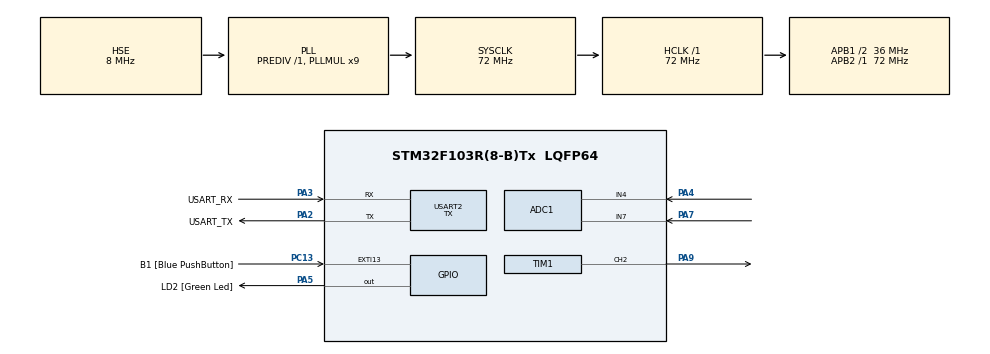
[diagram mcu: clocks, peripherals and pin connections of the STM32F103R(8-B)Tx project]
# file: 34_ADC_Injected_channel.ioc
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ADC1.Channel-5\#ChannelRegularConversion=ADC_CHANNEL_7
ADC1.Channel-6\#ChannelInjectedConversion=ADC_CHANNEL_4
ADC1.ContinuousConvMode=ENABLE
ADC1.EnableInjectedConversion=ENABLE
ADC1.ExternalTrigInjecConv=ADC_EXTERNALTRIGINJECCONV_T1_TRGO
ADC1.InjNumberOfConversion=1
ADC1.InjectedConvMode=Discontinuous
ADC1.InjectedOffset-6\#ChannelInjectedConversion=0
ADC1.InjectedRank-6\#ChannelInjectedConversion=1
ADC1.NbrOfConversionFlag=1
ADC1.Rank-5\#ChannelRegularConversion=1
ADC1.SamplingTime-5\#ChannelRegularConversion=ADC_SAMPLETIME_1CYCLE_5
ADC1.SamplingTime-6\#ChannelInjectedConversion=ADC_SAMPLETIME_1CYCLE_5
ADC1.master=1
Mcu.Family=STM32F1
Mcu.Name=STM32F103R(8-B)Tx
Mcu.Package=LQFP64
NVIC.ADC1_2_IRQn=true\:0\:0\:false\:false\:true\:true\:true\:true
NVIC.EXTI15_10_IRQn=true\:0\:0\:false\:false\:true\:true\:true\:true
NVIC.PriorityGroup=NVIC_PRIORITYGROUP_4
PA13.GPIO_Label=TMS
PA13.Mode=Serial_Wire
PA13.Signal=SYS_JTMS-SWDIO
PA14.GPIO_Label=TCK
PA14.Mode=Serial_Wire
PA14.Signal=SYS_JTCK-SWCLK
PA2.GPIO_Label=USART_TX
PA2.GPIO_Mode=GPIO_MODE_AF_PP
PA2.GPIO_PuPd=GPIO_NOPULL
PA2.GPIO_Speed=GPIO_SPEED_FREQ_LOW
PA2.Mode=Asynchronous
PA2.Signal=USART2_TX
PA3.GPIO_Label=USART_RX
PA3.GPIO_Mode=GPIO_MODE_AF_PP
PA3.GPIO_PuPd=GPIO_NOPULL
PA3.GPIO_Speed=GPIO_SPEED_FREQ_LOW
PA3.Mode=Asynchronous
PA3.Signal=USART2_RX
PA4.Signal=ADCx_IN4
PA5.GPIO_Label=LD2 [Green Led]
PA5.GPIO_ModeDefaultOutputPP=GPIO_MODE_OUTPUT_PP
PA5.GPIO_PuPd=GPIO_NOPULL
PA5.GPIO_Speed=GPIO_SPEED_FREQ_LOW
PA5.Signal=GPIO_Output
PA7.Signal=ADCx_IN7
PA9.Signal=S_TIM1_CH2
PB3.GPIO_Label=SWO
PB3.Signal=SYS_JTDO-TRACESWO
PC13-TAMPER-RTC.GPIO_Label=B1 [Blue PushButton]
PC13-TAMPER-RTC.GPIO_PuPd=GPIO_NOPULL
PC13-TAMPER-RTC.Signal=GPXTI13
PC14-OSC32_IN.Mode=LSE-External-Oscillator
PC14-OSC32_IN.Signal=RCC_OSC32_IN
PC15-OSC32_OUT.Mode=LSE-External-Oscillator
PC15-OSC32_OUT.Signal=RCC_OSC32_OUT
PD0-OSC_IN.Mode=HSE-External-Oscillator
PD0-OSC_IN.Signal=RCC_OSC_IN
PD1-OSC_OUT.Mode=HSE-External-Oscillator
PD1-OSC_OUT.Signal=RCC_OSC_OUT
ProjectManager.HeapSize=0x200
ProjectManager.StackSize=0x400
ProjectManager.TargetToolchain=STM32CubeIDE
RCC.ADCPresc=RCC_ADCPCLK2_DIV6
RCC.AHBFreq_Value=72000000
RCC.APB1CLKDivider=RCC_HCLK_DIV2
RCC.APB1Freq_Value=36000000
RCC.APB1TimFreq_Value=72000000
RCC.APB2Freq_Value=72000000
RCC.APB2TimFreq_Value=72000000
RCC.HCLKFreq_Value=72000000
RCC.PLLMUL=RCC_PLL_MUL9
RCC.PLLSourceVirtual=RCC_PLLSOURCE_HSE
RCC.RTCClockSelection=RCC_RTCCLKSOURCE_LSE
RCC.SYSCLKFreq_VALUE=72000000
RCC.SYSCLKSource=RCC_SYSCLKSOURCE_PLLCLK
RCC.USBFreq_Value=72000000
SH.ADCx_IN4.0=ADC1_IN4,IN4
SH.ADCx_IN7.0=ADC1_IN7,IN7
SH.S_TIM1_CH2.0=TIM1_CH2,PWM Generation2 CH2
TIM1.AutoReloadPreload=TIM_AUTORELOAD_PRELOAD_DISABLE
TIM1.Channel-Output\ Compare1\ No\ Output=TIM_CHANNEL_1
TIM1.Channel-PWM\ Generation2\ CH2=TIM_CHANNEL_2
TIM1.CounterMode=TIM_COUNTERMODE_CENTERALIGNED1
TIM1.Period=4095
TIM1.TIM_MasterOutputTrigger=TIM_TRGO_OC1
TIM1.TIM_MasterSlaveMode=TIM_MASTERSLAVEMODE_DISABLE
USART2.Mode=MODE_TX
USART2.VirtualMode=VM_ASYNC
VP_TIM1_VS_no_output1.Mode=Output Compare1 No Output
board=NUCLEO-F103RB

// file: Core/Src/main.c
/* USER CODE BEGIN Header */
/**
  ******************************************************************************
  * @file           : main.c
  * @brief          : Main program body
  ******************************************************************************
  * @attention
  *
  * Copyright (c) 2025 STMicroelectronics.
  * All rights reserved.
  *
  * This software is licensed under terms that can be found in the LICENSE file
  * in the root directory of this software component.
  * If no LICENSE file comes with this software, it is provided AS-IS.
  *
  ******************************************************************************
  */
/* USER CODE END Header */
#include "main.h"

/* USER CODE BEGIN Includes */

#include <stdio.h>

/* USER CODE END Includes */

ADC_HandleTypeDef hadc1;

TIM_HandleTypeDef htim1;

UART_HandleTypeDef huart2;

/* USER CODE BEGIN PV */

char UART2_TxBuffer[30];
volatile uint16_t InjADC_Reading = 0;
uint16_t AD_RES = 0;
float I_dc = 0.0;

/* USER CODE END PV */

void SystemClock_Config(void);
static void MX_GPIO_Init(void);
static void MX_USART2_UART_Init(void);
static void MX_TIM1_Init(void);
static void MX_ADC1_Init(void);

int main(void)
{

  /* MCU Configuration--------------------------------------------------------*/

  /* Reset of all peripherals, Initializes the Flash interface and the Systick. */
  HAL_Init();

  /* Configure the system clock */
  SystemClock_Config();

  /* Initialize all configured peripherals */
  MX_GPIO_Init();
  MX_USART2_UART_Init();
  MX_TIM1_Init();
  MX_ADC1_Init();
  /* USER CODE BEGIN 2 */

  //Start PWM: TIM1(CH2)
  HAL_TIM_PWM_Start(&htim1, TIM_CHANNEL_2);
  //Start output compare(CH1)
  HAL_TIM_OC_Start(&htim1, TIM_CHANNEL_1);
  //Set the OC1 trigger point to the middle of the PWM waveform
  TIM1->CCR1 = 1;
  //Start ADC conversion (regular channel, continuous mode, polling)
  HAL_ADC_Start(&hadc1);
  //Start ADC conversion (injected channel, Tim1-PWM-Triggered, Interrupt)
  HAL_ADCEx_InjectedStart_IT(&hadc1);

  /* USER CODE END 2 */

  /* Infinite loop */
  /* USER CODE BEGIN WHILE */
  while (1)
  {
	  //Poll ADC1 peripheral & timeout = 1mSec
	  HAL_ADC_PollForConversion(&hadc1, 1);
	  //Read  the ADC regular channel (CH7)
	  AD_RES = HAL_ADC_GetValue(&hadc1);
	  //Update the PWM DutyCycle using ADC value (potentiometer on CH7)
	  TIM1->CCR2 = AD_RES;

	  //Convert the injected ADC channel reading to I_dc
	  I_dc = ((InjADC_Reading*3.30)/4.095);

	  //print the current measurement to serial port
	  sprintf(UART2_TxBuffer,"I_dc = %f mA\r\n", I_dc);
	  HAL_UART_Transmit(&huart2, (uint8_t*)UART2_TxBuffer, sizeof(UART2_TxBuffer), 10);

	  HAL_Delay(1);

    /* USER CODE END WHILE */

  }
}

void SystemClock_Config(void)
{
  RCC_OscInitTypeDef RCC_OscInitStruct = {0};
  RCC_ClkInitTypeDef RCC_ClkInitStruct = {0};
  RCC_PeriphCLKInitTypeDef PeriphClkInit = {0};

  /** Initializes the RCC Oscillators according to the specified parameters
  * in the RCC_OscInitTypeDef structure.
  */
  RCC_OscInitStruct.OscillatorType = RCC_OSCILLATORTYPE_HSE;
  RCC_OscInitStruct.HSEState = RCC_HSE_ON;
  RCC_OscInitStruct.HSEPredivValue = RCC_HSE_PREDIV_DIV1;
  RCC_OscInitStruct.HSIState = RCC_HSI_ON;
  RCC_OscInitStruct.PLL.PLLState = RCC_PLL_ON;
  RCC_OscInitStruct.PLL.PLLSource = RCC_PLLSOURCE_HSE;
  RCC_OscInitStruct.PLL.PLLMUL = RCC_PLL_MUL9;
  if (HAL_RCC_OscConfig(&RCC_OscInitStruct) != HAL_OK)
  {
    Error_Handler();
  }

  /** Initializes the CPU, AHB and APB buses clocks
  */
  RCC_ClkInitStruct.ClockType = RCC_CLOCKTYPE_HCLK|RCC_CLOCKTYPE_SYSCLK
                              |RCC_CLOCKTYPE_PCLK1|RCC_CLOCKTYPE_PCLK2;
  RCC_ClkInitStruct.SYSCLKSource = RCC_SYSCLKSOURCE_PLLCLK;
  RCC_ClkInitStruct.AHBCLKDivider = RCC_SYSCLK_DIV1;
  RCC_ClkInitStruct.APB1CLKDivider = RCC_HCLK_DIV2;
  RCC_ClkInitStruct.APB2CLKDivider = RCC_HCLK_DIV1;

  if (HAL_RCC_ClockConfig(&RCC_ClkInitStruct, FLASH_LATENCY_2) != HAL_OK)
  {
    Error_Handler();
  }
  PeriphClkInit.PeriphClockSelection = RCC_PERIPHCLK_ADC;
  PeriphClkInit.AdcClockSelection = RCC_ADCPCLK2_DIV6;
  if (HAL_RCCEx_PeriphCLKConfig(&PeriphClkInit) != HAL_OK)
  {
    Error_Handler();
  }
}

static void MX_ADC1_Init(void)
{

  ADC_ChannelConfTypeDef sConfig = {0};
  ADC_InjectionConfTypeDef sConfigInjected = {0};

  /** Common config
  */
  hadc1.Instance = ADC1;
  hadc1.Init.ScanConvMode = ADC_SCAN_DISABLE;
  hadc1.Init.ContinuousConvMode = ENABLE;
  hadc1.Init.DiscontinuousConvMode = DISABLE;
  hadc1.Init.ExternalTrigConv = ADC_SOFTWARE_START;
  hadc1.Init.DataAlign = ADC_DATAALIGN_RIGHT;
  hadc1.Init.NbrOfConversion = 1;
  if (HAL_ADC_Init(&hadc1) != HAL_OK)
  {
    Error_Handler();
  }

  /** Configure Regular Channel
  */
  sConfig.Channel = ADC_CHANNEL_7;
  sConfig.Rank = ADC_REGULAR_RANK_1;
  sConfig.SamplingTime = ADC_SAMPLETIME_1CYCLE_5;
  if (HAL_ADC_ConfigChannel(&hadc1, &sConfig) != HAL_OK)
  {
    Error_Handler();
  }

  /** Configure Injected Channel
  */
  sConfigInjected.InjectedChannel = ADC_CHANNEL_4;
  sConfigInjected.InjectedRank = ADC_INJECTED_RANK_1;
  sConfigInjected.InjectedNbrOfConversion = 1;
  sConfigInjected.InjectedSamplingTime = ADC_SAMPLETIME_1CYCLE_5;
  sConfigInjected.ExternalTrigInjecConv = ADC_EXTERNALTRIGINJECCONV_T1_TRGO;
  sConfigInjected.AutoInjectedConv = DISABLE;
  sConfigInjected.InjectedDiscontinuousConvMode = ENABLE;
  sConfigInjected.InjectedOffset = 0;
  if (HAL_ADCEx_InjectedConfigChannel(&hadc1, &sConfigInjected) != HAL_OK)
  {
    Error_Handler();
  }

}

static void MX_TIM1_Init(void)
{

  TIM_MasterConfigTypeDef sMasterConfig = {0};
  TIM_OC_InitTypeDef sConfigOC = {0};
  TIM_BreakDeadTimeConfigTypeDef sBreakDeadTimeConfig = {0};

  htim1.Instance = TIM1;
  htim1.Init.Prescaler = 0;
  htim1.Init.CounterMode = TIM_COUNTERMODE_CENTERALIGNED1;
  htim1.Init.Period = 4095;
  htim1.Init.ClockDivision = TIM_CLOCKDIVISION_DIV1;
  htim1.Init.RepetitionCounter = 0;
  htim1.Init.AutoReloadPreload = TIM_AUTORELOAD_PRELOAD_DISABLE;
  if (HAL_TIM_OC_Init(&htim1) != HAL_OK)
  {
    Error_Handler();
  }
  if (HAL_TIM_PWM_Init(&htim1) != HAL_OK)
  {
    Error_Handler();
  }
  sMasterConfig.MasterOutputTrigger = TIM_TRGO_OC1;
  sMasterConfig.MasterSlaveMode = TIM_MASTERSLAVEMODE_DISABLE;
  if (HAL_TIMEx_MasterConfigSynchronization(&htim1, &sMasterConfig) != HAL_OK)
  {
    Error_Handler();
  }
  sConfigOC.OCMode = TIM_OCMODE_TIMING;
  sConfigOC.Pulse = 0;
  sConfigOC.OCPolarity = TIM_OCPOLARITY_HIGH;
  sConfigOC.OCNPolarity = TIM_OCNPOLARITY_HIGH;
  sConfigOC.OCFastMode = TIM_OCFAST_DISABLE;
  sConfigOC.OCIdleState = TIM_OCIDLESTATE_RESET;
  sConfigOC.OCNIdleState = TIM_OCNIDLESTATE_RESET;
  if (HAL_TIM_OC_ConfigChannel(&htim1, &sConfigOC, TIM_CHANNEL_1) != HAL_OK)
  {
    Error_Handler();
  }
  sConfigOC.OCMode = TIM_OCMODE_PWM1;
  if (HAL_TIM_PWM_ConfigChannel(&htim1, &sConfigOC, TIM_CHANNEL_2) != HAL_OK)
  {
    Error_Handler();
  }
  sBreakDeadTimeConfig.OffStateRunMode = TIM_OSSR_DISABLE;
  sBreakDeadTimeConfig.OffStateIDLEMode = TIM_OSSI_DISABLE;
  sBreakDeadTimeConfig.LockLevel = TIM_LOCKLEVEL_OFF;
  sBreakDeadTimeConfig.DeadTime = 0;
  sBreakDeadTimeConfig.BreakState = TIM_BREAK_DISABLE;
  sBreakDeadTimeConfig.BreakPolarity = TIM_BREAKPOLARITY_HIGH;
  sBreakDeadTimeConfig.AutomaticOutput = TIM_AUTOMATICOUTPUT_DISABLE;
  if (HAL_TIMEx_ConfigBreakDeadTime(&htim1, &sBreakDeadTimeConfig) != HAL_OK)
  {
    Error_Handler();
  }
  HAL_TIM_MspPostInit(&htim1);

}

static void MX_USART2_UART_Init(void)
{

  huart2.Instance = USART2;
  huart2.Init.BaudRate = 115200;
  huart2.Init.WordLength = UART_WORDLENGTH_8B;
  huart2.Init.StopBits = UART_STOPBITS_1;
  huart2.Init.Parity = UART_PARITY_NONE;
  huart2.Init.Mode = UART_MODE_TX;
  huart2.Init.HwFlowCtl = UART_HWCONTROL_NONE;
  huart2.Init.OverSampling = UART_OVERSAMPLING_16;
  if (HAL_UART_Init(&huart2) != HAL_OK)
  {
    Error_Handler();
  }

}

static void MX_GPIO_Init(void)
{
  GPIO_InitTypeDef GPIO_InitStruct = {0};

  /* GPIO Ports Clock Enable */
  __HAL_RCC_GPIOC_CLK_ENABLE();
  __HAL_RCC_GPIOD_CLK_ENABLE();
  __HAL_RCC_GPIOA_CLK_ENABLE();
  __HAL_RCC_GPIOB_CLK_ENABLE();

  /*Configure GPIO pin Output Level */
  HAL_GPIO_WritePin(LD2_GPIO_Port, LD2_Pin, GPIO_PIN_RESET);

  /*Configure GPIO pin : B1_Pin */
  GPIO_InitStruct.Pin = B1_Pin;
  GPIO_InitStruct.Mode = GPIO_MODE_IT_RISING;
  GPIO_InitStruct.Pull = GPIO_NOPULL;
  HAL_GPIO_Init(B1_GPIO_Port, &GPIO_InitStruct);

  /*Configure GPIO pin : LD2_Pin */
  GPIO_InitStruct.Pin = LD2_Pin;
  GPIO_InitStruct.Mode = GPIO_MODE_OUTPUT_PP;
  GPIO_InitStruct.Pull = GPIO_NOPULL;
  GPIO_InitStruct.Speed = GPIO_SPEED_FREQ_LOW;
  HAL_GPIO_Init(LD2_GPIO_Port, &GPIO_InitStruct);

  /* EXTI interrupt init*/
  HAL_NVIC_SetPriority(EXTI15_10_IRQn, 0, 0);
  HAL_NVIC_EnableIRQ(EXTI15_10_IRQn);

}

/* USER CODE BEGIN 4 */

void HAL_ADCEx_InjectedConvCpltCallback(ADC_HandleTypeDef* hadc)
{
//	HAL_GPIO_WritePin(GPIOA, GPIO_PIN_5, GPIO_PIN_SET);
	InjADC_Reading = HAL_ADCEx_InjectedGetValue(&hadc1, ADC_INJECTED_RANK_1);
//	HAL_GPIO_WritePin(GPIOA, GPIO_PIN_5, GPIO_PIN_RESET);
}

/* USER CODE END 4 */

void Error_Handler(void)
{
  __disable_irq();
  while (1)
  {
  }
}
